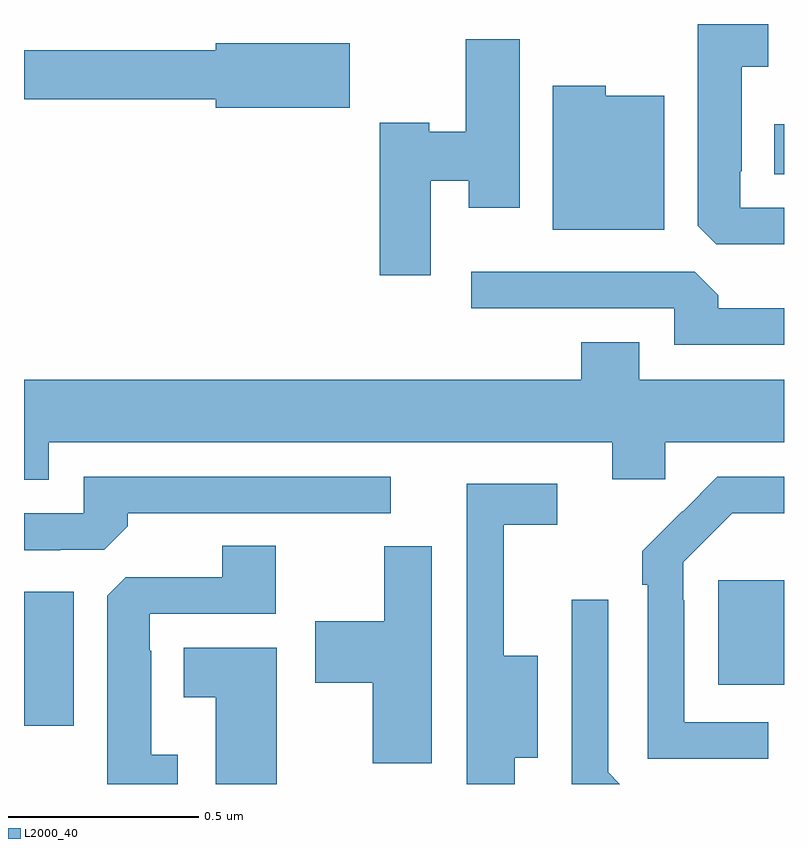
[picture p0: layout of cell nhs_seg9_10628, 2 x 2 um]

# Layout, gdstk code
import gdstk
lib = gdstk.Library(unit=1e-6, precision=1e-09)
def R(c, l, rs):  # rectangles x0, y0, x1, y1
    for r in rs: c.add(gdstk.rectangle(r[:2], r[2:], *l))
def P(c, l, *ps):  # polygons
    for p in ps: c.add(gdstk.Polygon(p, *l))
L2000_40 = (2000, 40)

nhs_seg9_10628 = lib.new_cell('nhs_seg9_10628')
R(nhs_seg9_10628, L2000_40, [(245,1215.653,245.131,1216.006), (246.827,1215.761,247,1216.036), (246.974,1217.105,247,1217.236)])
P(nhs_seg9_10628, L2000_40, [(247,1217.016),(246.885,1217.016),(246.885,1217.113),(246.889,1217.113),(246.889,1217.387),(246.958,1217.387),(246.958,1217.5),(246.773,1217.5),(246.773,1216.969),(246.822,1216.92),(247,1216.92)],
  [(246.07,1217.087),(246.17,1217.087),(246.17,1217.016),(246.304,1217.016),(246.304,1217.46),(246.163,1217.46),(246.163,1217.217),(246.066,1217.217),(246.066,1217.24),(245.936,1217.24),(245.936,1216.839),(246.07,1216.839)],
  [(245.857,1217.449),(245.504,1217.449),(245.504,1217.431),(245,1217.431),(245,1217.302),(245.504,1217.302),(245.504,1217.279),(245.857,1217.279)],
  [(246.685,1217.311),(246.531,1217.311),(246.531,1217.338),(246.392,1217.338),(246.392,1216.958),(246.685,1216.958)],
  [(247,1216.752),(246.827,1216.752),(246.827,1216.786),(246.765,1216.848),(246.177,1216.848),(246.177,1216.752),(246.711,1216.752),(246.711,1216.656),(247,1216.656)],
  [(245.065,1216.4),(246.548,1216.4),(246.548,1216.302),(246.687,1216.302),(246.687,1216.4),(247,1216.4),(247,1216.564),(246.619,1216.564),(246.619,1216.663),(246.467,1216.663),(246.467,1216.564),(245,1216.564),(245,1216.301),(245.065,1216.301)],
  [(246.958,1215.663),(246.738,1215.663),(246.738,1215.983),(246.735,1215.983),(246.735,1216.083),(246.864,1216.212),(247,1216.212),(247,1216.308),(246.824,1216.308),(246.733,1216.217),(246.732,1216.218),(246.627,1216.113),(246.627,1216.025),(246.642,1216.025),(246.642,1215.567),(246.958,1215.567)],
  [(245.096,1216.116),(245.211,1216.116),(245.273,1216.178),(245.273,1216.212),(245.965,1216.212),(245.965,1216.308),(245.157,1216.308),(245.157,1216.212),(245,1216.212),(245,1216.115),(245.096,1216.115)],
  [(246.292,1215.569),(246.352,1215.569),(246.352,1215.838),(246.263,1215.838),(246.263,1216.182),(246.403,1216.182),(246.403,1216.29),(246.165,1216.29),(246.165,1215.5),(246.292,1215.5)],
  [(245.404,1215.577),(245.335,1215.577),(245.335,1215.851),(245.331,1215.851),(245.331,1215.948),(245.662,1215.948),(245.662,1216.127),(245.522,1216.127),(245.522,1216.044),(245.268,1216.044),(245.219,1215.995),(245.219,1215.5),(245.404,1215.5)],
  [(246.073,1216.126),(245.948,1216.126),(245.948,1215.928),(245.766,1215.928),(245.766,1215.766),(245.918,1215.766),(245.918,1215.555),(246.073,1215.555)],
  [(246.537,1215.531),(246.537,1215.985),(246.441,1215.985),(246.441,1215.5),(246.568,1215.5)],
  [(245.665,1215.859),(245.42,1215.859),(245.42,1215.728),(245.504,1215.728),(245.504,1215.5),(245.665,1215.5)])

lib.write_gds('nhs_seg9_10628.gds')
